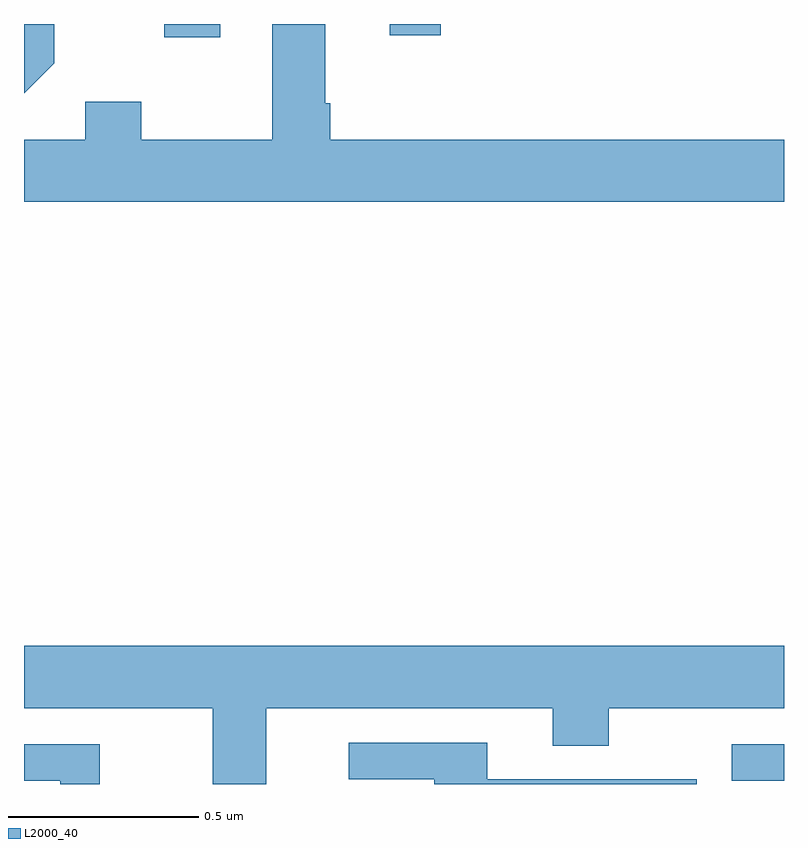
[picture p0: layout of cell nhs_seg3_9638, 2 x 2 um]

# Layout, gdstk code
import gdstk
lib = gdstk.Library(unit=1e-6, precision=1e-09)
def R(c, l, rs):  # rectangles x0, y0, x1, y1
    for r in rs: c.add(gdstk.rectangle(r[:2], r[2:], *l))
def P(c, l, *ps):  # polygons
    for p in ps: c.add(gdstk.Polygon(p, *l))
L2000_40 = (2000, 40)

nhs_seg3_9638 = lib.new_cell('nhs_seg3_9638')
R(nhs_seg3_9638, L2000_40, [(232.863,683.409,233,683.505), (231.369,685.365,231.517,685.4), (231.962,685.371,232.097,685.4)])
P(nhs_seg3_9638, L2000_40, [(233,685.096),(231.806,685.096),(231.806,685.192),(231.793,685.192),(231.793,685.4),(231.653,685.4),(231.653,685.096),(231.309,685.096),(231.309,685.195),(231.161,685.195),(231.161,685.096),(231,685.096),(231,684.932),(233,684.932)],
  [(231.079,685.297),(231.079,685.4),(231,685.4),(231,685.218)],
  [(231.637,683.6),(232.391,683.6),(232.391,683.501),(232.539,683.501),(232.539,683.6),(233,683.6),(233,683.764),(231,683.764),(231,683.6),(231.497,683.6),(231.497,683.4),(231.637,683.4)],
  [(232.77,683.412),(232.219,683.412),(232.219,683.508),(231.855,683.508),(231.855,683.412),(232.079,683.412),(232.079,683.4),(232.77,683.4)],
  [(231.199,683.505),(231,683.505),(231,683.409),(231.095,683.409),(231.095,683.4),(231.199,683.4)])

lib.write_gds('nhs_seg3_9638.gds')
